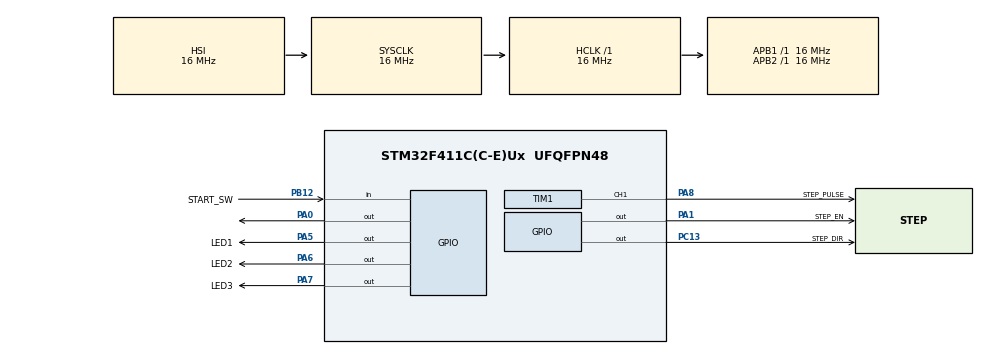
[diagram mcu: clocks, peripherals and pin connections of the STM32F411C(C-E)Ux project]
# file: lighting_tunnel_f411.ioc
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Mcu.Family=STM32F4
Mcu.Name=STM32F411C(C-E)Ux
Mcu.Package=UFQFPN48
NVIC.PriorityGroup=NVIC_PRIORITYGROUP_4
PA0-WKUP.Signal=GPIO_Output
PA1.GPIO_Label=STEP_EN
PA1.Signal=GPIO_Output
PA5.GPIO_Label=LED1
PA5.GPIO_PuPd=GPIO_NOPULL
PA5.GPIO_Speed=GPIO_SPEED_FREQ_LOW
PA5.Signal=GPIO_Output
PA6.GPIO_Label=LED2
PA6.GPIO_PuPd=GPIO_NOPULL
PA6.GPIO_Speed=GPIO_SPEED_FREQ_LOW
PA6.Signal=GPIO_Output
PA7.GPIO_Label=LED3
PA7.GPIO_PuPd=GPIO_NOPULL
PA7.GPIO_Speed=GPIO_SPEED_FREQ_LOW
PA7.Signal=GPIO_Output
PA8.GPIO_Label=STEP_PULSE
PA8.Signal=S_TIM1_CH1
PB12.GPIO_Label=START_SW
PB12.GPIO_PuPd=GPIO_PULLDOWN
PB12.Signal=GPIO_Input
PC13-ANTI_TAMP.GPIO_Label=STEP_DIR
PC13-ANTI_TAMP.Signal=GPIO_Output
ProjectManager.HeapSize=0x200
ProjectManager.StackSize=0x400
ProjectManager.TargetToolchain=STM32CubeIDE
RCC.AHBFreq_Value=16000000
RCC.APB1Freq_Value=16000000
RCC.APB2Freq_Value=16000000
RCC.CortexFreq_Value=16000000
RCC.HSE_VALUE=25000000
RCC.HSI_VALUE=16000000
RCC.LSE_VALUE=32768
RCC.SYSCLKFreq_VALUE=16000000
RCC.VCOOutputFreq_Value=192000000
SH.S_TIM1_CH1.0=TIM1_CH1,PWM Generation1 CH1
TIM1.Channel-PWM\ Generation1\ CH1=TIM_CHANNEL_1
TIM1.Period=999
TIM1.Prescaler=15
TIM2.Period=999
TIM2.Prescaler=15
VP_TIM1_VS_ClockSourceINT.Mode=Internal
VP_TIM2_VS_ClockSourceINT.Mode=Internal
board=custom

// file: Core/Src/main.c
/* USER CODE BEGIN Header */
/**
  ******************************************************************************
  * @file           : main.c
  * @brief          : Main program body
  ******************************************************************************
  * @attention
  *
  * Copyright (c) 2026 STMicroelectronics.
  * All rights reserved.
  *
  * This software is licensed under terms that can be found in the LICENSE file
  * in the root directory of this software component.
  * If no LICENSE file comes with this software, it is provided AS-IS.
  *
  ******************************************************************************
  */
/* USER CODE END Header */
#include "main.h"

/* USER CODE BEGIN Includes */
#include <stdint.h>
/* USER CODE END Includes */

/* USER CODE BEGIN PD */

/* =========================================================
   사용자가 나중에 조정할 가능성이 큰 값들
   ========================================================= */

/* 버튼은 PB12 + Pull-down 이므로
   버튼을 누르면 HIGH가 들어온다고 가정 */
#define START_SW_ACTIVE_LEVEL      GPIO_PIN_SET

/* 버튼 디바운스 시간 */
#define START_SW_DEBOUNCE_MS       30U

/* 스텝모터 Enable 핀 active level
   A4988 / DRV8825 계열은 보통 EN이 LOW일 때 활성인 경우가 많음
   모터가 enable/disable 반대로 동작하면 이 두 줄을 서로 바꾸면 됨 */
#define STEP_EN_ACTIVE_LEVEL       GPIO_PIN_RESET
#define STEP_EN_INACTIVE_LEVEL     GPIO_PIN_SET

/* 모터 이동 방향
   실제 회전 방향이 반대로 나오면 SET/RESET을 서로 바꾸면 됨 */
#define MOVE_IN_DIR                GPIO_PIN_SET
#define MOVE_OUT_DIR               GPIO_PIN_RESET

/* 이동 step 수
   현재는 예시값
   1.8도 모터 + 풀스텝이면 90도 = 50 step */
#define MOVE_IN_STEPS              11500U
#define MOVE_OUT_STEPS             7000U

/* 시간 조건 */
#define SETTLE_DELAY_MS            1000U   /* 모터 1차 이동 후 안정화 대기 */
#define LED_PRE_DELAY_MS           5000U   /* LED ON 후 트리거까지 대기 */
#define LED_POST_DELAY_MS          5000U   /* 트리거 후 LED OFF까지 대기 */

/* USER CODE END PD */

TIM_HandleTypeDef htim1;
TIM_HandleTypeDef htim2;

/* USER CODE BEGIN PV */

/* 현재 시퀀스가 동작 중인지 표시
   0이면 대기 상태, 1이면 동작 중 */
static uint8_t busy = 0U;

/* USER CODE END PV */

void SystemClock_Config(void);
static void MX_GPIO_Init(void);
static void MX_TIM1_Init(void);
static void MX_TIM2_Init(void);
/* USER CODE BEGIN PFP */
static uint8_t button_is_pressed(void);
static void wait_button_release(void);

static void all_led_off(void);

static void stepper_enable(void);
static void stepper_disable(void);
static void stepper_move_steps(uint32_t steps, GPIO_PinState dir);

static void camera_trigger_once(void);
static void capture_with_led(GPIO_TypeDef *GPIOx, uint16_t GPIO_Pin);

static void run_sequence(void);
/* USER CODE END PFP */

/* USER CODE BEGIN 0 */

/* ---------------------------------------------------------
   버튼이 눌렸는지 확인
   START_SW_ACTIVE_LEVEL 기준으로 눌림 여부 판단
   --------------------------------------------------------- */
static uint8_t button_is_pressed(void)
{
    return (HAL_GPIO_ReadPin(START_SW_GPIO_Port, START_SW_Pin) == START_SW_ACTIVE_LEVEL);
}

/* ---------------------------------------------------------
   버튼에서 손을 뗄 때까지 기다림
   버튼을 계속 누르고 있을 때 중복 실행되는 것 방지
   --------------------------------------------------------- */
static void wait_button_release(void)
{
    while (button_is_pressed())
    {
        HAL_Delay(1);
    }

    /* 손을 뗀 직후 채터링 방지용 짧은 대기 */
    HAL_Delay(START_SW_DEBOUNCE_MS);
}

/* ---------------------------------------------------------
   LED 전체 OFF
   --------------------------------------------------------- */
static void all_led_off(void)
{
    HAL_GPIO_WritePin(LED1_GPIO_Port, LED1_Pin, GPIO_PIN_RESET);
    HAL_GPIO_WritePin(LED2_GPIO_Port, LED2_Pin, GPIO_PIN_RESET);
    HAL_GPIO_WritePin(LED3_GPIO_Port, LED3_Pin, GPIO_PIN_RESET);
}

/* ---------------------------------------------------------
   스텝모터 enable
   --------------------------------------------------------- */
static void stepper_enable(void)
{
    HAL_GPIO_WritePin(STEP_EN_GPIO_Port, STEP_EN_Pin, STEP_EN_ACTIVE_LEVEL);
}

/* ---------------------------------------------------------
   스텝모터 disable
   --------------------------------------------------------- */
static void stepper_disable(void)
{
    HAL_GPIO_WritePin(STEP_EN_GPIO_Port, STEP_EN_Pin, STEP_EN_INACTIVE_LEVEL);
}

/* ---------------------------------------------------------
   stepper_move_steps()
   - TIM1 CH1(STEP_PULSE)에서 STEP 펄스를 발생
   - update event 1개를 step 1개로 계산
   - 방향은 STEP_DIR 핀으로 제어
   --------------------------------------------------------- */
static void stepper_move_steps(uint32_t steps, GPIO_PinState dir)
{
    /* 먼저 회전 방향 설정 */
    HAL_GPIO_WritePin(STEP_DIR_GPIO_Port, STEP_DIR_Pin, dir);

    /* 타이머 카운터와 update flag 초기화 */
    __HAL_TIM_SET_COUNTER(&htim1, 0);
    __HAL_TIM_CLEAR_FLAG(&htim1, TIM_FLAG_UPDATE);

    /* STEP PWM 시작 */
    HAL_TIM_PWM_Start(&htim1, TIM_CHANNEL_1);

    /* 목표 step 수만큼 타이머 주기를 기다림
       현재 TIM1 설정(PSC=15, ARR=999)이면
       HSI 16MHz 기준 대략 1kHz step 펄스가 나옴 */
    for (uint32_t i = 0; i < steps; i++)
    {
        while (__HAL_TIM_GET_FLAG(&htim1, TIM_FLAG_UPDATE) == RESET)
        {
            /* 한 주기 끝날 때까지 대기 */
        }

        /* 다음 step을 세기 위해 flag 클리어 */
        __HAL_TIM_CLEAR_FLAG(&htim1, TIM_FLAG_UPDATE);
    }

    /* 목표 step 수 도달 -> PWM 정지 */
    HAL_TIM_PWM_Stop(&htim1, TIM_CHANNEL_1);

    /* 모터 정지 후 아주 짧게 안정화 */
    HAL_Delay(10);
}

/* ---------------------------------------------------------
   camera_trigger_once()
   - TIM2 CH1(CAM_TRIG)에서 카메라 트리거 펄스를 1번 출력
   - PWM을 1주기만 내보내고 정지
   --------------------------------------------------------- */
static void camera_trigger_once(void)
{
	HAL_GPIO_WritePin(CAM_TRIG_GPIO_Port, CAM_TRIG_Pin, GPIO_PIN_RESET);
	HAL_Delay(10);
	HAL_GPIO_WritePin(CAM_TRIG_GPIO_Port, CAM_TRIG_Pin, GPIO_PIN_SET);
	HAL_Delay(1500);
	HAL_GPIO_WritePin(CAM_TRIG_GPIO_Port, CAM_TRIG_Pin, GPIO_PIN_RESET);
}

/* ---------------------------------------------------------
   capture_with_led()
   각 LED마다 아래 순서 실행
   1) LED ON
   2) 1초 대기
   3) 카메라 트리거 1회
   4) 1초 대기
   5) LED OFF
   --------------------------------------------------------- */
static void capture_with_led(GPIO_TypeDef *GPIOx, uint16_t GPIO_Pin)
{
    /* LED 켜기 */
    HAL_GPIO_WritePin(GPIOx, GPIO_Pin, GPIO_PIN_SET);

    /* LED 켠 뒤 1초 대기 */
    HAL_Delay(LED_PRE_DELAY_MS);

    /* 카메라 트리거 1회 */
    camera_trigger_once();

    /* 트리거 후 1초 대기 */
    HAL_Delay(LED_POST_DELAY_MS);

    /* LED 끄기 */
    HAL_GPIO_WritePin(GPIOx, GPIO_Pin, GPIO_PIN_RESET);
}

/* ---------------------------------------------------------
   run_sequence()
   전체 동작 순서
   1) 모터 enable
   2) 촬영 위치까지 이동
   3) 1초 대기
   4) LED1 촬영
   5) LED2 촬영
   6) LED3 촬영
   7) 다시 이동
   8) 모터 disable
   9) LED 전체 OFF
   --------------------------------------------------------- */
static void run_sequence(void)
{
    busy = 1U;

    /* 시작 전에 LED 모두 OFF */
    all_led_off();

    /* 모터 활성화 */
    stepper_enable();
    /* 1차 이동: 촬영 위치로 이동 */
    stepper_move_steps(MOVE_IN_STEPS, MOVE_OUT_DIR);
    /* 모터 정지 후 1초 대기 */
    HAL_Delay(SETTLE_DELAY_MS);

    /* LED1 촬영 */
    capture_with_led(LED1_GPIO_Port, LED1_Pin);

    /* LED2 촬영 */
    capture_with_led(LED2_GPIO_Port, LED2_Pin);

    /* LED3 촬영 */
    capture_with_led(LED3_GPIO_Port, LED3_Pin);

    /* 2차 이동: 배출 또는 원위치 */
    stepper_move_steps(MOVE_OUT_STEPS, MOVE_OUT_DIR);

    /* 종료 처리 */
    stepper_disable();
    all_led_off();

    busy = 0U;
}

/* USER CODE END 0 */

int main(void)
{

  /* MCU Configuration--------------------------------------------------------*/

  /* Reset of all peripherals, Initializes the Flash interface and the Systick. */
  HAL_Init();

  /* Configure the system clock */
  SystemClock_Config();

  /* Initialize all configured peripherals */
  MX_GPIO_Init();
  MX_TIM1_Init();
  MX_TIM2_Init();
  /* USER CODE BEGIN 2 */

  /* 전원 인가 직후 초기 상태 정리 */
  all_led_off();
  stepper_disable();

  /* 방향 핀 기본값 */
  HAL_GPIO_WritePin(STEP_DIR_GPIO_Port, STEP_DIR_Pin, GPIO_PIN_RESET);

  /* USER CODE END 2 */

  /* Infinite loop */
  /* USER CODE BEGIN WHILE */
  while (1)
  {
      /* 버튼이 눌렸고 현재 동작 중이 아니면 */
      if ((busy == 0U) && button_is_pressed())
      {
          /* 디바운스 */
          HAL_Delay(START_SW_DEBOUNCE_MS);

          /* 여전히 눌려 있으면 유효 입력으로 판단 */
          if (button_is_pressed())
          {
              /* 버튼에서 손을 뗄 때까지 기다린 뒤 시퀀스 실행 */
              wait_button_release();
              run_sequence();
          }
      }

    /* USER CODE END WHILE */

  }
}

void SystemClock_Config(void)
{
  RCC_OscInitTypeDef RCC_OscInitStruct = {0};
  RCC_ClkInitTypeDef RCC_ClkInitStruct = {0};

  /** Configure the main internal regulator output voltage
  */
  __HAL_RCC_PWR_CLK_ENABLE();
  __HAL_PWR_VOLTAGESCALING_CONFIG(PWR_REGULATOR_VOLTAGE_SCALE1);

  /** Initializes the RCC Oscillators according to the specified parameters
  * in the RCC_OscInitTypeDef structure.
  */
  RCC_OscInitStruct.OscillatorType = RCC_OSCILLATORTYPE_HSI;
  RCC_OscInitStruct.HSIState = RCC_HSI_ON;
  RCC_OscInitStruct.HSICalibrationValue = RCC_HSICALIBRATION_DEFAULT;
  RCC_OscInitStruct.PLL.PLLState = RCC_PLL_NONE;
  if (HAL_RCC_OscConfig(&RCC_OscInitStruct) != HAL_OK)
  {
    Error_Handler();
  }

  /** Initializes the CPU, AHB and APB buses clocks
  */
  RCC_ClkInitStruct.ClockType = RCC_CLOCKTYPE_HCLK|RCC_CLOCKTYPE_SYSCLK
                              |RCC_CLOCKTYPE_PCLK1|RCC_CLOCKTYPE_PCLK2;
  RCC_ClkInitStruct.SYSCLKSource = RCC_SYSCLKSOURCE_HSI;
  RCC_ClkInitStruct.AHBCLKDivider = RCC_SYSCLK_DIV1;
  RCC_ClkInitStruct.APB1CLKDivider = RCC_HCLK_DIV1;
  RCC_ClkInitStruct.APB2CLKDivider = RCC_HCLK_DIV1;

  if (HAL_RCC_ClockConfig(&RCC_ClkInitStruct, FLASH_LATENCY_0) != HAL_OK)
  {
    Error_Handler();
  }
}

static void MX_TIM1_Init(void)
{

  TIM_ClockConfigTypeDef sClockSourceConfig = {0};
  TIM_MasterConfigTypeDef sMasterConfig = {0};
  TIM_OC_InitTypeDef sConfigOC = {0};
  TIM_BreakDeadTimeConfigTypeDef sBreakDeadTimeConfig = {0};

  htim1.Instance = TIM1;
  htim1.Init.Prescaler = 15;
  htim1.Init.CounterMode = TIM_COUNTERMODE_UP;
  htim1.Init.Period = 999;
  htim1.Init.ClockDivision = TIM_CLOCKDIVISION_DIV1;
  htim1.Init.RepetitionCounter = 0;
  htim1.Init.AutoReloadPreload = TIM_AUTORELOAD_PRELOAD_DISABLE;
  if (HAL_TIM_Base_Init(&htim1) != HAL_OK)
  {
    Error_Handler();
  }
  sClockSourceConfig.ClockSource = TIM_CLOCKSOURCE_INTERNAL;
  if (HAL_TIM_ConfigClockSource(&htim1, &sClockSourceConfig) != HAL_OK)
  {
    Error_Handler();
  }
  if (HAL_TIM_PWM_Init(&htim1) != HAL_OK)
  {
    Error_Handler();
  }
  sMasterConfig.MasterOutputTrigger = TIM_TRGO_RESET;
  sMasterConfig.MasterSlaveMode = TIM_MASTERSLAVEMODE_DISABLE;
  if (HAL_TIMEx_MasterConfigSynchronization(&htim1, &sMasterConfig) != HAL_OK)
  {
    Error_Handler();
  }
  sConfigOC.OCMode = TIM_OCMODE_PWM1;
  sConfigOC.Pulse = 500;
  sConfigOC.OCPolarity = TIM_OCPOLARITY_HIGH;
  sConfigOC.OCNPolarity = TIM_OCNPOLARITY_HIGH;
  sConfigOC.OCFastMode = TIM_OCFAST_DISABLE;
  sConfigOC.OCIdleState = TIM_OCIDLESTATE_RESET;
  sConfigOC.OCNIdleState = TIM_OCNIDLESTATE_RESET;
  if (HAL_TIM_PWM_ConfigChannel(&htim1, &sConfigOC, TIM_CHANNEL_1) != HAL_OK)
  {
    Error_Handler();
  }
  sBreakDeadTimeConfig.OffStateRunMode = TIM_OSSR_DISABLE;
  sBreakDeadTimeConfig.OffStateIDLEMode = TIM_OSSI_DISABLE;
  sBreakDeadTimeConfig.LockLevel = TIM_LOCKLEVEL_OFF;
  sBreakDeadTimeConfig.DeadTime = 0;
  sBreakDeadTimeConfig.BreakState = TIM_BREAK_DISABLE;
  sBreakDeadTimeConfig.BreakPolarity = TIM_BREAKPOLARITY_HIGH;
  sBreakDeadTimeConfig.AutomaticOutput = TIM_AUTOMATICOUTPUT_DISABLE;
  if (HAL_TIMEx_ConfigBreakDeadTime(&htim1, &sBreakDeadTimeConfig) != HAL_OK)
  {
    Error_Handler();
  }
  HAL_TIM_MspPostInit(&htim1);

}

static void MX_TIM2_Init(void)
{

  TIM_ClockConfigTypeDef sClockSourceConfig = {0};
  TIM_MasterConfigTypeDef sMasterConfig = {0};

  htim2.Instance = TIM2;
  htim2.Init.Prescaler = 15;
  htim2.Init.CounterMode = TIM_COUNTERMODE_UP;
  htim2.Init.Period = 999;
  htim2.Init.ClockDivision = TIM_CLOCKDIVISION_DIV1;
  htim2.Init.AutoReloadPreload = TIM_AUTORELOAD_PRELOAD_DISABLE;
  if (HAL_TIM_Base_Init(&htim2) != HAL_OK)
  {
    Error_Handler();
  }
  sClockSourceConfig.ClockSource = TIM_CLOCKSOURCE_INTERNAL;
  if (HAL_TIM_ConfigClockSource(&htim2, &sClockSourceConfig) != HAL_OK)
  {
    Error_Handler();
  }
  sMasterConfig.MasterOutputTrigger = TIM_TRGO_RESET;
  sMasterConfig.MasterSlaveMode = TIM_MASTERSLAVEMODE_DISABLE;
  if (HAL_TIMEx_MasterConfigSynchronization(&htim2, &sMasterConfig) != HAL_OK)
  {
    Error_Handler();
  }

}

static void MX_GPIO_Init(void)
{
  GPIO_InitTypeDef GPIO_InitStruct = {0};

  /* GPIO Ports Clock Enable */
  __HAL_RCC_GPIOC_CLK_ENABLE();
  __HAL_RCC_GPIOA_CLK_ENABLE();
  __HAL_RCC_GPIOB_CLK_ENABLE();

  /*Configure GPIO pin Output Level */
  HAL_GPIO_WritePin(STEP_DIR_GPIO_Port, STEP_DIR_Pin, GPIO_PIN_RESET);

  /*Configure GPIO pin Output Level */
  HAL_GPIO_WritePin(GPIOA, GPIO_PIN_0|STEP_EN_Pin|LED1_Pin|LED2_Pin
                          |LED3_Pin, GPIO_PIN_RESET);

  /*Configure GPIO pin : STEP_DIR_Pin */
  GPIO_InitStruct.Pin = STEP_DIR_Pin;
  GPIO_InitStruct.Mode = GPIO_MODE_OUTPUT_PP;
  GPIO_InitStruct.Pull = GPIO_NOPULL;
  GPIO_InitStruct.Speed = GPIO_SPEED_FREQ_LOW;
  HAL_GPIO_Init(STEP_DIR_GPIO_Port, &GPIO_InitStruct);

  /*Configure GPIO pins : PA0 STEP_EN_Pin LED1_Pin LED2_Pin
                           LED3_Pin */
  GPIO_InitStruct.Pin = GPIO_PIN_0|STEP_EN_Pin|LED1_Pin|LED2_Pin
                          |LED3_Pin;
  GPIO_InitStruct.Mode = GPIO_MODE_OUTPUT_PP;
  GPIO_InitStruct.Pull = GPIO_NOPULL;
  GPIO_InitStruct.Speed = GPIO_SPEED_FREQ_LOW;
  HAL_GPIO_Init(GPIOA, &GPIO_InitStruct);

  /*Configure GPIO pin : START_SW_Pin */
  GPIO_InitStruct.Pin = START_SW_Pin;
  GPIO_InitStruct.Mode = GPIO_MODE_INPUT;
  GPIO_InitStruct.Pull = GPIO_PULLDOWN;
  HAL_GPIO_Init(START_SW_GPIO_Port, &GPIO_InitStruct);

}

void Error_Handler(void)
{
  __disable_irq();
  while (1)
  {
  }
}
